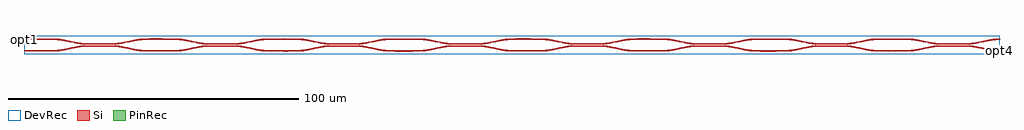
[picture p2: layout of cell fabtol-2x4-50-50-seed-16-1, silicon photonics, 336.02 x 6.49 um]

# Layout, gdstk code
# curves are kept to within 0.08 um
import gdstk
lib = gdstk.Library(unit=1e-6, precision=1e-09)
def R(c, l, rs):  # rectangles x0, y0, x1, y1
    for r in rs: c.add(gdstk.rectangle(r[:2], r[2:], *l))
def P(c, l, *ps):  # polygons
    for p in ps: c.add(gdstk.Polygon(p, *l))
Si = (1, 0)
PinRec = (1, 10)
DevRec = (68, 0)

layer_3_0_phase_sec_3_6 = lib.new_cell('layer-3_0_phase_sec_3$6')
P(layer_3_0_phase_sec_3_6, Si, [(5.757,-0.244),(0,-0.225),(0,0.225),(10,0.225),(10,-0.225)])

layer_3_0_phase_sec_0_6 = lib.new_cell('layer-3_0_phase_sec_0$6')
P(layer_3_0_phase_sec_0_6, Si, [(1.124,-0.23),(0,-0.225),(0,0.225),(10,0.225),(10,-0.225)])

dc_arm_down_6 = lib.new_cell('dc_arm_down$6')
R(dc_arm_down_6, Si, [(12,-0.55,20,-0.1)])
P(dc_arm_down_6, Si, [(32,-2.225),(30.861,-2.188),(29.344,-2.033),(22.966,-0.793),(21.481,-0.613),(20,-0.55),(20,-0.1),(21.139,-0.137),(22.656,-0.292),(29.034,-1.532),(30.519,-1.712),(32,-1.775)],
  [(0,-2.225),(0,-1.775),(1.481,-1.712),(2.966,-1.532),(9.344,-0.292),(10.861,-0.137),(12,-0.1),(12,-0.55),(10.519,-0.613),(9.034,-0.793),(2.656,-2.033),(1.139,-2.188)])

dc_arm_up_6 = lib.new_cell('dc_arm_up$6')
R(dc_arm_up_6, Si, [(12,0.1,20,0.55)])
P(dc_arm_up_6, Si, [(20,0.1),(20,0.55),(21.481,0.613),(22.966,0.793),(29.344,2.033),(30.861,2.188),(32,2.225),(32,1.775),(30.519,1.712),(29.034,1.532),(22.656,0.292),(21.139,0.137)],
  [(12,0.1),(10.861,0.137),(9.344,0.292),(2.966,1.532),(1.481,1.712),(0,1.775),(0,2.225),(1.139,2.188),(2.656,2.033),(9.034,0.793),(10.519,0.613),(12,0.55)])

dc_6 = lib.new_cell('dc$6')
dc_6.add(gdstk.Reference(dc_arm_down_6, (0,0)))
dc_6.add(gdstk.Reference(dc_arm_up_6, (0,0)))

layer_3_0_phase_sec_2_6 = lib.new_cell('layer-3_0_phase_sec_2$6')
P(layer_3_0_phase_sec_2_6, Si, [(2.246,-0.233),(0,-0.225),(0,0.225),(10,0.225),(10,-0.225)])

layer_0_0_phase_sec_3_6 = lib.new_cell('layer-0_0_phase_sec_3$6')
P(layer_0_0_phase_sec_3_6, Si, [(1.251,-0.24),(0,-0.225),(0,0.225),(10,0.225),(10,-0.225)])

layer_2_0_phase_sec_3_6 = lib.new_cell('layer-2_0_phase_sec_3$6')
P(layer_2_0_phase_sec_3_6, Si, [(1.343,-0.241),(0,-0.225),(0,0.225),(10,0.225),(10,-0.225)])

layer_1_0_phase_sec_0_6 = lib.new_cell('layer-1_0_phase_sec_0$6')
P(layer_1_0_phase_sec_0_6, Si, [(5.614,-0.234),(0,-0.225),(0,0.225),(10,0.225),(10,-0.225)])

layer_3_0_phase_sec_1_6 = lib.new_cell('layer-3_0_phase_sec_1$6')
P(layer_3_0_phase_sec_1_6, Si, [(2.771,-0.25),(0,-0.225),(0,0.225),(10,0.225),(10,-0.225)])

layer_1_0_phase_sec_2_6 = lib.new_cell('layer-1_0_phase_sec_2$6')
P(layer_1_0_phase_sec_2_6, Si, [(1.091,-0.228),(0,-0.225),(0,0.225),(10,0.225),(10,-0.225)])

layer_0_0_phase_sec_1_6 = lib.new_cell('layer-0_0_phase_sec_1$6')
P(layer_0_0_phase_sec_1_6, Si, [(4.328,-0.229),(0,-0.225),(0,0.225),(10,0.225),(10,-0.225)])

layer_1_0_phase_sec_3_6 = lib.new_cell('layer-1_0_phase_sec_3$6')
P(layer_1_0_phase_sec_3_6, Si, [(4.651,-0.251),(0,-0.225),(0,0.225),(10,0.225),(10,-0.225)])

layer_1_0_phase_sec_1_6 = lib.new_cell('layer-1_0_phase_sec_1$6')
P(layer_1_0_phase_sec_1_6, Si, [(1.349,-0.246),(0,-0.225),(0,0.225),(10,0.225),(10,-0.225)])

layer_2_0_phase_sec_0_6 = lib.new_cell('layer-2_0_phase_sec_0$6')
P(layer_2_0_phase_sec_0_6, Si, [(5.119,-0.242),(0,-0.225),(0,0.225),(10,0.225),(10,-0.225)])

layer_0_0_phase_sec_2_6 = lib.new_cell('layer-0_0_phase_sec_2$6')
P(layer_0_0_phase_sec_2_6, Si, [(2.206,-0.238),(0,-0.225),(0,0.225),(10,0.225),(10,-0.225)])

layer_2_0_phase_sec_1_6 = lib.new_cell('layer-2_0_phase_sec_1$6')
P(layer_2_0_phase_sec_1_6, Si, [(5.326,-0.238),(0,-0.225),(0,0.225),(10,0.225),(10,-0.225)])

layer_0_0_phase_sec_0_6 = lib.new_cell('layer-0_0_phase_sec_0$6')
P(layer_0_0_phase_sec_0_6, Si, [(3.422,-0.229),(0,-0.225),(0,0.225),(10,0.225),(10,-0.225)])

layer_2_0_phase_sec_2_6 = lib.new_cell('layer-2_0_phase_sec_2$6')
P(layer_2_0_phase_sec_2_6, Si, [(3.267,-0.239),(0,-0.225),(0,0.225),(10,0.225),(10,-0.225)])

fabtol_2x4_50_50_seed_16 = lib.new_cell('fabtol-2x4-50-50-seed-16-1')
R(fabtol_2x4_50_50_seed_16, DevRec, [(0,-1,336,5.493)])
fabtol_2x4_50_50_seed_16.add(gdstk.FlexPath([(335.99,0.251),(336.01,0.251)], 0.45, ends="flush", simple_path=True, layer=1, datatype=10))  # PinRec
fabtol_2x4_50_50_seed_16.add(gdstk.FlexPath([(335.99,4.251),(336.01,4.251)], 0.45, ends="flush", simple_path=True, layer=1, datatype=10))  # PinRec
fabtol_2x4_50_50_seed_16.add(gdstk.FlexPath([(0.01,4.251),(-0.01,4.251)], 0.45, ends="flush", simple_path=True, layer=1, datatype=10))  # PinRec
fabtol_2x4_50_50_seed_16.add(gdstk.Reference(layer_3_0_phase_sec_3_6, (294,0.251)))
fabtol_2x4_50_50_seed_16.add(gdstk.Reference(layer_3_0_phase_sec_0_6, (252,4.251)))
fabtol_2x4_50_50_seed_16.add(gdstk.Reference(dc_6, (10,2.251)))
fabtol_2x4_50_50_seed_16.add(gdstk.Reference(dc_6, (52,2.251)))
fabtol_2x4_50_50_seed_16.add(gdstk.Reference(dc_6, (94,2.251)))
fabtol_2x4_50_50_seed_16.add(gdstk.Reference(dc_6, (136,2.251)))
fabtol_2x4_50_50_seed_16.add(gdstk.Reference(dc_6, (178,2.251)))
fabtol_2x4_50_50_seed_16.add(gdstk.Reference(dc_6, (220,2.251)))
fabtol_2x4_50_50_seed_16.add(gdstk.Reference(dc_6, (262,2.251)))
fabtol_2x4_50_50_seed_16.add(gdstk.Reference(dc_6, (304,2.251)))
fabtol_2x4_50_50_seed_16.add(gdstk.Reference(layer_3_0_phase_sec_2_6, (294,4.251)))
fabtol_2x4_50_50_seed_16.add(gdstk.Reference(layer_0_0_phase_sec_3_6, (42,0.251)))
fabtol_2x4_50_50_seed_16.add(gdstk.Reference(layer_2_0_phase_sec_3_6, (210,0.251)))
fabtol_2x4_50_50_seed_16.add(gdstk.Reference(layer_1_0_phase_sec_0_6, (84,4.251)))
fabtol_2x4_50_50_seed_16.add(gdstk.Reference(layer_3_0_phase_sec_1_6, (252,0.251)))
fabtol_2x4_50_50_seed_16.add(gdstk.Reference(layer_1_0_phase_sec_2_6, (126,4.251)))
fabtol_2x4_50_50_seed_16.add(gdstk.Reference(layer_0_0_phase_sec_1_6, (0,0.251)))
fabtol_2x4_50_50_seed_16.add(gdstk.Reference(layer_1_0_phase_sec_3_6, (126,0.251)))
fabtol_2x4_50_50_seed_16.add(gdstk.Reference(layer_1_0_phase_sec_1_6, (84,0.251)))
fabtol_2x4_50_50_seed_16.add(gdstk.Reference(layer_2_0_phase_sec_0_6, (168,4.251)))
fabtol_2x4_50_50_seed_16.add(gdstk.Reference(layer_0_0_phase_sec_2_6, (42,4.251)))
fabtol_2x4_50_50_seed_16.add(gdstk.Reference(layer_2_0_phase_sec_1_6, (168,0.251)))
fabtol_2x4_50_50_seed_16.add(gdstk.Reference(layer_0_0_phase_sec_0_6, (0,4.251)))
fabtol_2x4_50_50_seed_16.add(gdstk.Reference(layer_2_0_phase_sec_2_6, (210,4.251)))
fabtol_2x4_50_50_seed_16.add(gdstk.Label('opt4', (336,0.251), layer=1, texttype=10))
fabtol_2x4_50_50_seed_16.add(gdstk.Label('opt3', (336,4.251), layer=1, texttype=10))
fabtol_2x4_50_50_seed_16.add(gdstk.Label('opt1', (0,4.251), layer=1, texttype=10))

lib.write_gds('fabtol-2x4-50-50-seed-16-1.gds')
